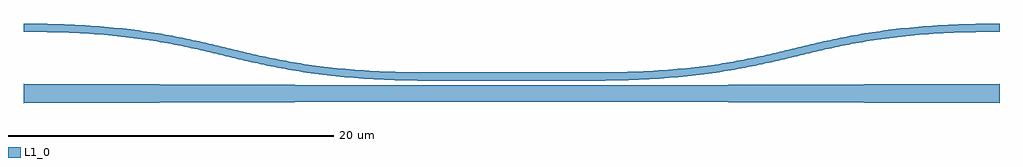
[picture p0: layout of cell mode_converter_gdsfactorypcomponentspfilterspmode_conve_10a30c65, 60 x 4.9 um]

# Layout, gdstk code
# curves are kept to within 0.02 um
from math import pi, radians
import gdstk
lib = gdstk.Library(unit=1e-6, precision=1e-09)
def R(c, l, rs):  # rectangles x0, y0, x1, y1
    for r in rs: c.add(gdstk.rectangle(r[:2], r[2:], *l))
def P(c, l, *ps):  # polygons
    for p in ps: c.add(gdstk.Polygon(p, *l))
L1_0 = (1, 0)

coupler_straight_asymmet = lib.new_cell('coupler_straight_asymmetric_gdsfactorypcomponentspcoupl_fd8c78fd')
R(coupler_straight_asymmet, L1_0, [(0,-0.5,10,0.5), (0,0.8,10,1.3)])

taper_gdsfactorypcompone = lib.new_cell('taper_gdsfactorypcomponentsptapersptaper_L25_W1_W1p2_LN_97c68b0b')
P(taper_gdsfactorypcompone, L1_0, [(25,-0.6),(0,-0.5),(0,0.5),(25,0.6)])

bend_s_gdsfactorypcompon = lib.new_cell('bend_s_gdsfactorypcomponentspbendspbend_s_S25_3_N99_CSs_0eac67c5')
P(bend_s_gdsfactorypcompon, L1_0, [(0,-0.25),(0,0.25),(2.153,0.282),(4.059,0.373),(5.752,0.515),(7.505,0.733),(8.639,0.917),(10.106,1.205),(14.995,2.328),(16.274,2.575),(17.663,2.796),(19.469,3.009),(21.213,3.145),(22.831,3.218),(25,3.25),(25,2.75),(22.847,2.718),(20.941,2.627),(19.248,2.485),(17.495,2.267),(16.361,2.083),(14.894,1.795),(10.005,0.672),(8.726,0.425),(7.337,0.204),(5.531,-0.009),(3.787,-0.145),(2.169,-0.218)])

mode_converter_gdsfactor = lib.new_cell('mode_converter_gdsfactorypcomponentspfilterspmode_conve_10a30c65')
mode_converter_gdsfactor.add(gdstk.Reference(coupler_straight_asymmet, (0,0)))
mode_converter_gdsfactor.add(gdstk.Reference(taper_gdsfactorypcompone, (0,0), rotation=pi))
mode_converter_gdsfactor.add(gdstk.Reference(taper_gdsfactorypcompone, (10,0)))
mode_converter_gdsfactor.add(gdstk.Reference(bend_s_gdsfactorypcompon, (10,1.05)))
mode_converter_gdsfactor.add(gdstk.Reference(bend_s_gdsfactorypcompon, (0,1.05), rotation=pi, x_reflection=True))

lib.write_gds('mode_converter_gdsfactorypcomponentspfilterspmode_conve_10a30c65.gds')
